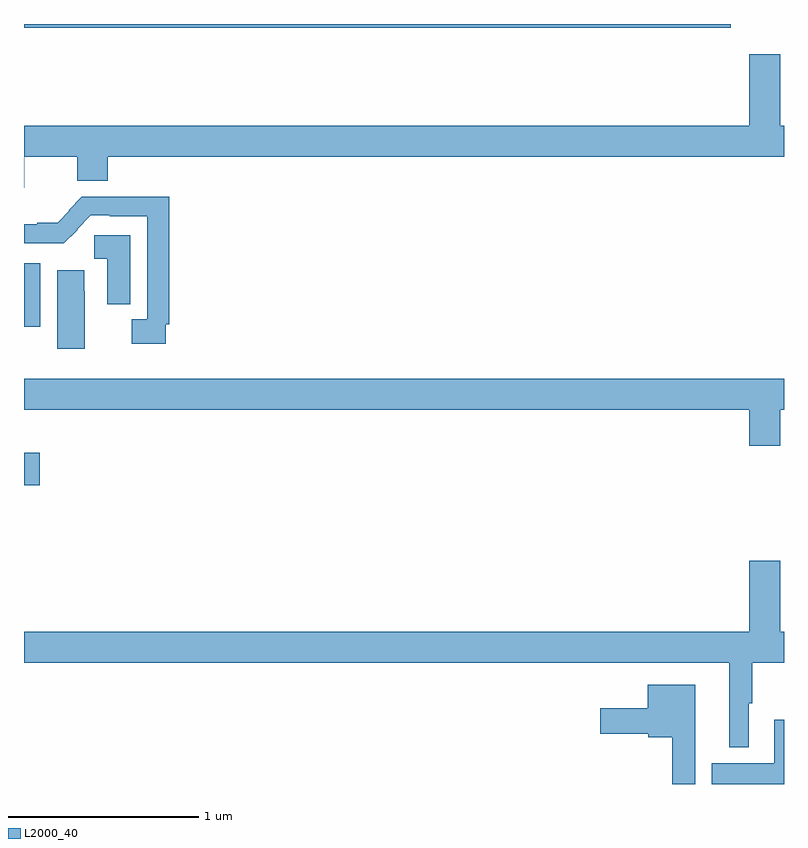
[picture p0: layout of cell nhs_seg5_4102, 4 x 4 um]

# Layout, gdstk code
import gdstk
lib = gdstk.Library(unit=1e-6, precision=1e-09)
def R(c, l, rs):  # rectangles x0, y0, x1, y1
    for r in rs: c.add(gdstk.rectangle(r[:2], r[2:], *l))
def P(c, l, *ps):  # polygons
    for p in ps: c.add(gdstk.Polygon(p, *l))
L2000_40 = (2000, 40)

nhs_seg5_4102 = lib.new_cell('nhs_seg5_4102')
R(nhs_seg5_4102, L2000_40, [(353,848.372,353.083,848.542), (353,849.206,353.086,849.54), (353,850.78,356.72,850.799)])
P(nhs_seg5_4102, L2000_40, [(353.002,850.1),(353.279,850.1),(353.279,849.974),(353.44,849.974),(353.44,850.1),(357,850.1),(357,850.264),(356.98,850.264),(356.98,850.639),(356.816,850.639),(356.816,850.264),(353,850.264),(353,849.936),(353.002,849.936)],
  [(353.745,849.22),(353.765,849.22),(353.765,849.889),(353.305,849.889),(353.235,849.819),(353.239,849.815),(353.177,849.753),(353.069,849.753),(353.069,849.745),(353,849.745),(353,849.644),(353.209,849.644),(353.283,849.717),(353.28,849.72),(353.352,849.792),(353.452,849.792),(353.452,849.788),(353.649,849.788),(353.649,849.244),(353.566,849.244),(353.566,849.116),(353.745,849.116)],
  [(353.56,849.686),(353.371,849.686),(353.371,849.563),(353.438,849.563),(353.438,849.325),(353.56,849.325)],
  [(353.32,849.392),(353.316,849.392),(353.316,849.503),(353.174,849.503),(353.174,849.09),(353.32,849.09)],
  [(356.98,848.768),(357,848.768),(357,848.932),(353,848.932),(353,848.768),(356.816,848.768),(356.816,848.58),(356.98,848.58)],
  [(356.815,847.225),(356.833,847.225),(356.833,847.436),(357,847.436),(357,847.6),(356.98,847.6),(356.98,847.975),(356.816,847.975),(356.816,847.6),(353,847.6),(353,847.436),(356.711,847.436),(356.711,846.992),(356.815,846.992)],
  [(356.533,847.321),(356.282,847.321),(356.282,847.198),(356.034,847.198),(356.034,847.064),(356.286,847.064),(356.286,847.046),(356.412,847.046),(356.412,846.799),(356.533,846.799)],
  [(357,847.138),(356.948,847.138),(356.948,846.907),(356.621,846.907),(356.621,846.799),(357,846.799)])

lib.write_gds('nhs_seg5_4102.gds')
